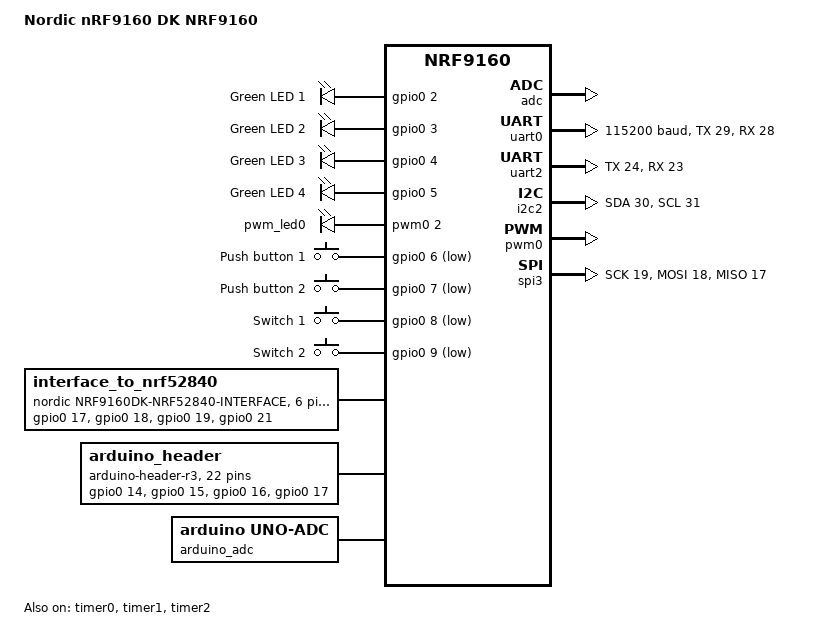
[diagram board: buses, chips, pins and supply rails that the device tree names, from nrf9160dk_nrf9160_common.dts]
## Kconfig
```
#
# Copyright (c) 2018 Nordic Semiconductor ASA
#
# SPDX-License-Identifier: LicenseRef-BSD-5-Clause-Nordic
#
choice LOG_MODE
	default LOG_MODE_IMMEDIATE
endchoice

menu "MQTT simple sample"
config APPLICATION_WORKQUEUE_STACK_SIZE
	int "Application workqueue stack size"
	default 1024

config APPLICATION_WORKQUEUE_PRIORITY
	int "Application workqueue priority"
	default SYSTEM_WORKQUEUE_PRIORITY
	
config MQTT_PUB_TOPIC
	string "MQTT publish topic"
	default "my/publish/topic"

config MQTT_SUB_TOPIC
	string "MQTT subscribe topic"
	default "my/subscribe/topic"

config MQTT_CLIENT_ID
	string "MQTT Client ID"
	default "my-client-id"

config MQTT_USER_NAME
	string "MQTT user name"
	default "admin123"
	
config MQTT_PASSWORD
	string "MQTT password"
	default "admin123"

config MQTT_DOMESTIC_BROKER_HOSTNAME
	string "MQTT broker hostname"
	default "mqtt.eclipse.org"

config MQTT_DOMESTIC_BROKER_PORT
	int "MQTT broker port"
	default 1883
	
config MQTT_FOREIGN_BROKER_HOSTNAME
	string "MQTT broker hostname"
	default "mqtt.eclipse.org"

config MQTT_FOREIGN_BROKER_PORT
	int "MQTT broker port"
	default 1883

config MQTT_MESSAGE_BUFFER_SIZE
	int "MQTT message buffer size"
	default 128

config MQTT_PAYLOAD_BUFFER_SIZE
	int "MQTT payload buffer size"
	default 128

config SEC_TAG
	int "Security tag to use for the connection"
	default 16842753

config PEER_VERIFY
	int "Peer verify parameter for mqtt_client"
	default 1
	help
		Set to 0 for VERIFY_NONE, 1 for VERIFY_OPTIONAL, and 2 for VERIFY_REQUIRED.

config MODEM_AUTO_REQUEST_POWER_SAVING_FEATURES
	bool "Auto request power saving features"
	default y

config LTE_EDRX_ENABLE
	bool "Enable LTE enhanced Discontinuous Reception"

config LTE_RAI_ENABLE
	bool "Enable LTE Release Assistance Indication"
endmenu

menu "WATCH DOG"
config WATCHDOG_TIMEOUT_MSEC
	int "Watchdog timeout in milliseconds"
	default 10000
endmenu

menu "GPS"
choice
	prompt "GPS device"
	default GPS_USE_SIM
	help
	  Select from which device GPS data will be fetched.

config GPS_USE_SIM
	bool "Use GPS simulator"
	select GPS_SIM
	select GPS_SIM_TRIGGER
	help
	  Use simulated GPS data.

config GPS_USE_EXTERNAL
	bool "User provided GPS device"
	help
	  Provide a GPS device that location data will be fetched from and
	  sent to nRF Cloud
endchoice

config GPS_DEV_NAME
	string "GPS device name"
	default GPS_SIM_DEV_NAME if GPS_USE_SIM
	help
	  GPS device from which location data will be fetched and sent
	  to nRF Cloud.

config GPS_CONTROL_ON_LONG_PRESS
	bool "Control the GPS state with button"
	default y
	help
	  Control the GPS operation with long-press on the button.
	  Press for 5 seconds to enable, or 5 seconds to disable.

config GPS_CONTROL_PSM_ENABLE_ON_START
	bool "Enable PSM when starting GPS"
	help
	  The nRF9160 modem needs to be set in PSM mode for the GPS to start
	  searching for satellites. Enabling this option will do so
	  automatically, otherwise the application must handle it.

config GPS_CONTROL_PSM_DISABLE_ON_STOP
	bool "Disable PSM when stopping GPS"
	help
	  Selecting this option will disable PSM when the GPS is stopped.
	  During a PSM interval, the device is not reachable from the outside
	  until the interval times out, or the device itself attempts to
	  send data on the link.

config GPS_CONTROL_FIRST_FIX_CHECK_DELAY
	int "Time from Cloud conenction until first fix check"
	default 30
	help
	  The amount of time that should pass between successfully establishing
	  connection to cloud until first attempt to get position fix.
	  Attempting to get a fix means entering PSM mode, in which the device
	  is not reachable for the duration of the interval, or until the
	  device itself sends data and then for the duration for the set
	  active time thereafter.

config GPS_CONTROL_FIX_CHECK_INTERVAL
	int "Interval in seconds to between check for position fix"
	default 120
	help
	  The fix check interval gives the interval for how long it will go
	  between each retry to achieve position fix. The actual fix time will
	  vary with factors such as satellite coverage, surrounding buildings
	  and landscape, PSM interval and activity time requested and granted
	  by the network.

config GPS_CONTROL_FIX_CHECK_OVERDUE
	int "Longest allowed time in seconds between checks for position fix"
	default 900
	help
	  The fix check interval gives the interval for how long it will go
	  between each retry to achieve position fix, when GPS_START_ON_MOTION
	  enabled, even if no motion is detected.

config GPS_CONTROL_FIX_TRY_TIME
	int "Time in seconds to try to get fix"
	default 180
	help
	  Amount of time the device will attempt to get position fix. Note that
	  if the interval is interrupted by the device sending data, the timer
	  is not reset, and the actual try time will be shortened due to
	  the device not being in PSM mode all the time. If fix is not acquired
	  before it times out, the device will try to get fix again in
	  GPS_CONTROL_FIX_CHECK_INTERVAL seconds. If GPS_CONTROL_FIX_COUNT is reached
	  before the full GPS_CONTROL_FIX_TRY_TIME has passed, the GPS will be stopped.

config GPS_CONTROL_FIX_COUNT
	int "Number of position fix before stopping GPS"
	default 3
	help
	  The number of fixes to get before stopping the GPS, within the time
	  set in GPS_CONTROL_FIX_CHECK_INTERVAL.

config GPS_CONTROL_MAX_FAILED_FIX_ATTEMPTS
	int "Number of failed fix attempts before stopping GPS"
	default 3
	help
	  Number of retries to get fix before shutting down the GPS until user
	  input tells it to start retrying.

config GPS_START_ON_MOTION
	bool "Motion triggered GPS update"
	default n
	help
	  When accelerometer detects movement, and GPS is enabled, update GPS
	  position, but if no movement, wait a longer delay between updates
	  to conserve power.
endmenu # GPS

menu "ANIMATION"
config ANIMATION_SUPPORT
	bool "animation support"
	default n
endmenu #ANIMATION

menu "TOUCH"
config TOUCH_SUPPORT
	bool "touch support"
	default n
endmenu #TOUCH

menu "PPG"
config PPG_SUPPORT
	bool "ppg support"
	default n
endmenu #PPG


menu "IMU"
config IMU_SUPPORT
	bool "imu support"
	default n
config STEP_SUPPORT
	bool "step support"
	default n		
config SLEEP_SUPPORT
	bool "sleep support"
	default n		
config FALL_DETECT_SUPPORT
	bool "fall detect support"
	default n		
endmenu #IMU

menu "AUDIO"
config AUDIO_SUPPORT
	bool "ppg support"
	default n
endmenu #AUDIO

menu "SYNC"
config SYNC_SUPPORT
	bool "sync support"
	default n
endmenu #SYNC

menu "TEMPERATURE"
config TEMP_SUPPORT
	bool "temperature support"
	default n
endmenu #TEMPERATURE

menu "CRC"
config CRC_SUPPORT
	bool "crc check support"
	default n
endmenu #CRC

menu "DATA_DOWNLOAD"
config DATA_DOWNLOAD_SUPPORT
	bool "data download support"
	default n
config DATA_DOWNLOAD_HOST_CN
	string "Download host name(cn)"	
config DATA_DOWNLOAD_HOST_HK
	string "Download host name(hk)"	
# IMG	
config IMG_DATA_UPDATE
	bool "img update support"
	default n
config IMG_DATA_DOWNLOAD_FILE
	string "The file to download"

# FONT
config FONT_DATA_UPDATE
	bool "font update support"
	default n
config FONT_DATA_DOWNLOAD_FILE
	string "The file to download"

# PPG
config PPG_DATA_UPDATE
	bool "ppg update support"
	default n
config PPG_DATA_DOWNLOAD_FILE
	string "The file to download"

config USE_HTTPS
	bool
	prompt "Use HTTPS for download"
	depends on DOWNLOAD_CLIENT_TLS	
endmenu #DATA_DOWNLOAD 

menu "IMG_UPDATE"
config DL_TARGET_UI
	bool "img ui update support"
	default n
endmenu #IMG_UPDATE

menu "FOTA_MQTT"
config FOTA_DOWNLOAD_HOST_CN
	string "Download host name(cn)"
config FOTA_DOWNLOAD_HOST_HK
	string "Download host name(hk)"

config FOTA_DOWNLOAD_FILE
	string "The file to download"

config APPLICATION_VERSION
	int "Application version"
	default 1

config USE_HTTPS
	bool
	prompt "Use HTTPS for download"
	depends on DOWNLOAD_CLIENT_TLS
endmenu #FOTA_MQTT

menu "Zephyr Kernel"
source "Kconfig.zephyr"
endmenu

module = APPLICATION_MODULE
module-str = Application module
source "subsys/logging/Kconfig.template.log_config"
```

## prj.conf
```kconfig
#
# Copyright (c) 2019 Nordic Semiconductor ASA
#
# SPDX-License-Identifier: LicenseRef-BSD-5-Clause-Nordic
#
# General config
CONFIG_NEWLIB_LIBC=y
CONFIG_NEWLIB_LIBC_FLOAT_PRINTF=y
CONFIG_ASSERT=y
CONFIG_REBOOT=y
CONFIG_GPIO=y
CONFIG_TRUSTED_EXECUTION_NONSECURE=y
CONFIG_NEWLIB_LIBC_NANO=n

# Log
CONFIG_LOG=y
CONFIG_USE_SEGGER_RTT=y
CONFIG_LOG_BACKEND_RTT=y
CONFIG_LOG_BACKEND_UART=n
CONFIG_LOG_DEFAULT_LEVEL=4
CONFIG_LOG_MODE_OVERFLOW=y
CONFIG_LOG_BACKEND_RTT_MODE_DROP=y
CONFIG_LOG_BACKEND_SHOW_COLOR=n
CONFIG_LOG_BACKEND_FORMAT_TIMESTAMP=n

# watch dog
CONFIG_WATCHDOG=y
CONFIG_WATCHDOG_TIMEOUT_MSEC=10000

# Modem info
CONFIG_MODEM_INFO=y

# BSD library
#CONFIG_BSD_LIBRARY=y
#CONFIG_BSD_LIBRARY_TRACE_ENABLED=n

# NVS
CONFIG_FLASH=y
CONFIG_FLASH_PAGE_LAYOUT=y
CONFIG_NVS=y
CONFIG_NVS_LOG_LEVEL_DBG=y
CONFIG_MPU_ALLOW_FLASH_WRITE=y

# GPS
CONFIG_NRF9160_GPS=y
#CONFIG_GPS_USE_SIM=y
CONFIG_GPS_USE_EXTERNAL=y
CONFIG_GPS_DEV_NAME="NRF9160_GPS"
CONFIG_GPS_CONTROL_PSM_ENABLE_ON_START=y
CONFIG_GPS_CONTROL_FIRST_FIX_CHECK_DELAY=10
CONFIG_GPS_CONTROL_FIX_CHECK_INTERVAL=30
CONFIG_GPS_CONTROL_FIX_TRY_TIME=360
CONFIG_GPS_CONTROL_PSM_DISABLE_ON_STOP=n

# AT_CMD
#CONFIG_AT_HOST_LIBRARY=y
#CONFIG_UART_INTERRUPT_DRIVEN=y

# Console
CONFIG_CONSOLE_SUBSYS=n
CONFIG_CONSOLE_HANDLER=n
CONFIG_CONSOLE_GETCHAR=n
CONFIG_CONSOLE=n
CONFIG_RTT_CONSOLE=y
CONFIG_UART_CONSOLE=n

# Enable SUPL client support AGPS
CONFIG_SUPL_CLIENT_LIB=n

# Network
CONFIG_NETWORKING=y
CONFIG_NET_NATIVE=n
#CONFIG_NET_SOCKETS_OFFLOAD=y
CONFIG_NET_SOCKETS=y
CONFIG_NET_SOCKETS_POSIX_NAMES=y

# LTE link control
CONFIG_LTE_LINK_CONTROL=y
CONFIG_LTE_AUTO_INIT_AND_CONNECT=n
CONFIG_LTE_NETWORK_USE_FALLBACK=y
CONFIG_LTE_NETWORK_TIMEOUT=60
CONFIG_LTE_NETWORK_MODE_LTE_M_GPS=n
CONFIG_LTE_NETWORK_MODE_NBIOT_GPS=y
#CONFIG_LTE_LEGACY_PCO_MODE=y

# PSM
CONFIG_MODEM_AUTO_REQUEST_POWER_SAVING_FEATURES=y
# Set Periodic-TAU timer to 1 hour and Active-Time to 10 seconds.
CONFIG_LTE_PSM_REQ_RPTAU="01000110"
CONFIG_LTE_PSM_REQ_RAT="00000101"

# MQTT
CONFIG_MQTT_LIB=y
CONFIG_MQTT_LIB_TLS=n
CONFIG_MQTT_KEEPALIVE=300
CONFIG_MQTT_PUB_TOPIC="device/e2/pushdata"
CONFIG_MQTT_SUB_TOPIC="device/e2/"
CONFIG_MQTT_CLIENT_ID="my-client-id"
CONFIG_MQTT_USER_NAME="admin123"
CONFIG_MQTT_PASSWORD="admin123"
CONFIG_MQTT_DOMESTIC_BROKER_HOSTNAME="47.107.51.89"
CONFIG_MQTT_DOMESTIC_BROKER_PORT=1883
CONFIG_MQTT_FOREIGN_BROKER_HOSTNAME="18.135.53.53"
CONFIG_MQTT_FOREIGN_BROKER_PORT=1883

# Library for buttons and LEDs
CONFIG_DK_LIBRARY=y
CONFIG_DK_LIBRARY_INVERT_LEDS=n

# Heap and stacks
CONFIG_HEAP_MEM_POOL_SIZE=16384
CONFIG_MAIN_STACK_SIZE=8192
CONFIG_SYSTEM_WORKQUEUE_STACK_SIZE=2048
CONFIG_HW_STACK_PROTECTION=y

# SPI
CONFIG_SPI=y

# I2C
CONFIG_I2C=y

# UART
CONFIG_SERIAL=y
CONFIG_UART_INTERRUPT_DRIVEN=y

# ANIMATION
CONFIG_ANIMATION_SUPPORT=y

# PPG
CONFIG_PPG_SUPPORT=n

# IMU
CONFIG_IMU_SUPPORT=n
CONFIG_STEP_SUPPORT=n
CONFIG_SLEEP_SUPPORT=n
CONFIG_FALL_DETECT_SUPPORT=n

# WIFI
CONFIG_WIFI=n

# TP
CONFIG_TOUCH_SUPPORT=y

# AUDIO
CONFIG_AUDIO_SUPPORT=n

# Data Sync
CONFIG_SYNC_SUPPORT=y

# Temperature
CONFIG_TEMP_SUPPORT=n

# CRC Check
CONFIG_CRC_SUPPORT=y

# DEVICE POWER MANAGEMENT
CONFIG_PM_DEVICE=y

# Download client
CONFIG_DOWNLOAD_CLIENT=y
CONFIG_DOWNLOAD_CLIENT_STACK_SIZE=4096

# DATA UPDATE
CONFIG_DATA_DOWNLOAD_SUPPORT=n
CONFIG_DATA_DOWNLOAD_HOST_HK="aug-fm-files-hk.oss-cn-hongkong.aliyuncs.com"
CONFIG_DATA_DOWNLOAD_HOST_CN="aug-fm-files-cn.oss-cn-shenzhen.aliyuncs.com"
# IMG
CONFIG_IMG_DATA_UPDATE=y
CONFIG_IMG_DATA_DOWNLOAD_FILE="e2_img.bin"
# FONT
CONFIG_FONT_DATA_UPDATE=y
CONFIG_FONT_DATA_DOWNLOAD_FILE="e2_font.bin"
# PPG
CONFIG_PPG_DATA_UPDATE=y
CONFIG_PPG_DATA_DOWNLOAD_FILE="e2_ppg.bin"

# fota download
CONFIG_FOTA_DOWNLOAD=y
CONFIG_FOTA_DOWNLOAD_PROGRESS_EVT=y
CONFIG_FOTA_DOWNLOAD_HOST_HK="aug-fm-files-hk.oss-cn-hongkong.aliyuncs.com"
CONFIG_FOTA_DOWNLOAD_HOST_CN="aug-fm-files-cn.oss-cn-shenzhen.aliyuncs.com"
CONFIG_FOTA_DOWNLOAD_FILE="e2_update.bin"

# Image manager
CONFIG_IMG_MANAGER=y
CONFIG_FLASH=y
CONFIG_IMG_ERASE_PROGRESSIVELY=y

# DFU Target
CONFIG_DFU_TARGET=y

# Modem key management
CONFIG_MODEM_KEY_MGMT=y

# Application Upgrade support
CONFIG_BOOTLOADER_MCUBOOT=y
```

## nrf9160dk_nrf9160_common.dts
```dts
/*
 * Copyright (c) 2018-2020 Nordic Semiconductor ASA
 *
 * SPDX-License-Identifier: Apache-2.0
 */

 / {
	model = "Nordic nRF9160 DK NRF9160";
	compatible = "nordic,nrf9160-dk-nrf9160";

	chosen {
		zephyr,console = &uart0;
		zephyr,shell-uart = &uart0;
		zephyr,uart-mcumgr = &uart0;
	};

	leds {
		compatible = "gpio-leds";
		led0: led_0 {
			gpios = <&gpio0 2 0>;
			label = "Green LED 1";
		};
		led1: led_1 {
			gpios = <&gpio0 3 0>;
			label = "Green LED 2";
		};
		led2: led_2 {
			gpios = <&gpio0 4 0>;
			label = "Green LED 3";
		};
		led3: led_3 {
			gpios = <&gpio0 5 0>;
			label = "Green LED 4";
		};
	};

	pwmleds {
		compatible = "pwm-leds";
		pwm_led0: pwm_led_0 {
			pwms = <&pwm0 2>;
		};
	};

	buttons {
		/*
		 * Unlike most DK boards, we do not actually have 4 buttons
		 * on nRF9160 DK. Instead, we have 2 buttons and 2 switches.
		 * Treat the switches as buttons anyway, for convenience.
		 * This makes life easier for software that wants to deal with
		 * the usual "4 buttons per DK board" convention.
		 */
		compatible = "gpio-keys";
		button0: button_0 {
			gpios = <&gpio0 6 (GPIO_PULL_UP | GPIO_ACTIVE_LOW)>;
			label = "Push button 1";
		};
		button1: button_1 {
			gpios = <&gpio0 7 (GPIO_PULL_UP | GPIO_ACTIVE_LOW)>;
			label = "Push button 2";
		};
		button2: button_2 {
			gpios = <&gpio0 8 (GPIO_PULL_UP | GPIO_ACTIVE_LOW)>;
			label = "Switch 1";
		};
		button3: button_3 {
			gpios = <&gpio0 9 (GPIO_PULL_UP | GPIO_ACTIVE_LOW)>;
			label = "Switch 2";
		};
	};

	interface_to_nrf52840: gpio-interface {
		compatible = "nordic,nrf9160dk-nrf52840-interface";
		#gpio-cells = <2>;
		gpio-map-mask = <0xf 0>;
		gpio-map-pass-thru = <0 0xffffffff>;
		gpio-map = <0 0 &gpio0 17 0>,
			   <1 0 &gpio0 18 0>,
			   <2 0 &gpio0 19 0>,
			   <3 0 &gpio0 21 0>,
			   <4 0 &gpio0 22 0>,
			   <5 0 &gpio0 23 0>;
			   /* 6: COEX0 */
			   /* 7: COEX1 */
			   /* 8: COEX2 */
	};

	nrf52840_reset: gpio-reset {
		compatible = "nordic,nrf9160dk-nrf52840-reset";
		status = "disabled";
		/*
		 * This line is specified as active high for compatibility
		 * with the previously used Kconfig-based configuration.
		 */
		gpios = <&interface_to_nrf52840 5 GPIO_ACTIVE_HIGH>;
	};

	arduino_header: connector {
		compatible = "arduino-header-r3";
		#gpio-cells = <2>;
		gpio-map-mask = <0xffffffff 0xffffffc0>;
		gpio-map-pass-thru = <0 0x3f>;
		gpio-map = <0 0 &gpio0 14 0>,	/* A0 */
			   <1 0 &gpio0 15 0>,	/* A1 */
			   <2 0 &gpio0 16 0>,	/* A2 */
			   <3 0 &gpio0 17 0>,	/* A3 */
			   <4 0 &gpio0 18 0>,	/* A4 */
			   <5 0 &gpio0 19 0>,	/* A5 */
			   <6 0 &gpio0 0 0>,	/* D0 */
			   <7 0 &gpio0 1 0>,	/* D1 */
			   <8 0 &gpio0 2 0>,	/* D2 */
			   <9 0 &gpio0 3 0>,	/* D3 */
			   <10 0 &gpio0 4 0>,	/* D4 */
			   <11 0 &gpio0 5 0>,	/* D5 */
			   <12 0 &gpio0 6 0>,	/* D6 */
			   <13 0 &gpio0 7 0>,	/* D7 */
			   <14 0 &gpio0 8 0>,	/* D8 */
			   <15 0 &gpio0 9 0>,	/* D9 */
			   <16 0 &gpio0 10 0>,	/* D10 */
			   <17 0 &gpio0 11 0>,	/* D11 */
			   <18 0 &gpio0 12 0>,	/* D12 */
			   <19 0 &gpio0 13 0>,	/* D13 */
			   <20 0 &gpio0 30 0>,	/* D14 */
			   <21 0 &gpio0 31 0>;	/* D15 */
	};

	arduino_adc: analog-connector {
		compatible = "arduino,uno-adc";
		#io-channel-cells = <1>;
		io-channel-map = <0 &adc 1>,	/* A0 = P0.14 = AIN1 */
				 <1 &adc 2>,	/* A1 = P0.15 = AIN2 */
				 <2 &adc 3>,	/* A2 = P0.16 = AIN3 */
				 <3 &adc 4>,	/* A3 = P0.17 = AIN4 */
				 <4 &adc 5>,	/* A4 = P0.18 = AIN5 */
				 <5 &adc 6>;	/* A5 = P0.19 = AIN6 */
	};

	/* These aliases are provided for compatibility with samples */
	aliases {
		led0 = &led0;
		led1 = &led1;
		led2 = &led2;
		led3 = &led3;
		pwm-led0 = &pwm_led0;
		sw0 = &button0;
		sw1 = &button1;
		sw2 = &button2;
		sw3 = &button3;
		bootloader-led0 = &led0;
	};
};

&adc {
	status = "okay";
};

&gpiote {
	status = "okay";
};

&gpio0 {
	status = "okay";
};

&uart0 {
	status = "okay";
	current-speed = <115200>;
	tx-pin = <29>;
	rx-pin = <28>;
	rx-pull-up;
	#rts-pin = <27>;
	#cts-pin = <26>;
	cts-pull-up;
};

arduino_serial: &uart1 {
	status = "disabled";
	current-speed = <115200>;
	tx-pin = <1>;
	rx-pin = <0>;
	rx-pull-up;
	rts-pin = <14>;
	cts-pin = <15>;
	cts-pull-up;
};

&uart2 {
	tx-pin = <24>;
	rx-pin = <23>;
};

arduino_i2c: &i2c2 {
	compatible = "nordic,nrf-twim";
	status = "okay";
	sda-pin = <30>;
	scl-pin = <31>;
};

&pwm0 {
	status = "okay";
	ch0-pin = <2>;
};

&spi3 {
	compatible = "nordic,nrf-spim";
	status = "okay";
	sck-pin = <19>;
	mosi-pin = <18>;
	miso-pin = <17>;
};

&timer0 {
	status = "okay";
};

&timer1 {
	status = "okay";
};

&timer2 {
	status = "okay";
};

&flash0 {

	partitions {
		compatible = "fixed-partitions";
		#address-cells = <1>;
		#size-cells = <1>;

		boot_partition: partition@0 {
			label = "mcuboot";
			reg = <0x00000000 0x10000>;
		};
		slot0_partition: partition@10000 {
			label = "image-0";
		};
		slot0_ns_partition: partition@50000 {
			label = "image-0-nonsecure";
		};
		slot1_partition: partition@80000 {
			label = "image-1";
		};
		slot1_ns_partition: partition@c0000 {
			label = "image-1-nonsecure";
		};
		scratch_partition: partition@f0000 {
			label = "image-scratch";
			reg = <0x000f0000 0xa000>;
		};
		storage_partition: partition@fa000 {
			label = "storage";
			reg = <0x000fa000 0x00006000>;
		};
	};
};

/ {

	reserved-memory {
		#address-cells = <1>;
		#size-cells = <1>;
		ranges;

		sram0_s: image_s@20000000 {
			/* Secure image memory */
		};

		sram0_modem: image_modem@20016000 {
			/* Modem (shared) memory */
		};

		sram0_ns: image_ns@20020000 {
			/* Non-Secure image memory */
		};
	};
};

/* Include partition configuration file */
#include "nrf9160dk_nrf9160_partition_conf.dts"
```

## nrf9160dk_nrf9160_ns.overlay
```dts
&spi2{
	compatible = "nordic,nrf-spim";
	status = "okay";
	sck-pin = <3>;
	mosi-pin = <4>;
	miso-pin = <5>;
};

&spi3{
	compatible = "nordic,nrf-spim";
	status = "okay";
	sck-pin = <22>;
	mosi-pin = <20>;
	miso-pin = <20>;
};

&i2c1{
	compatible = "nordic,nrf-twim";
	status = "okay";
	sda-pin = <0>;
	scl-pin = <1>;
	clock-frequency = <I2C_BITRATE_FAST>;
};

&i2c2{
	compatible = "nordic,nrf-twim";
	status = "disabled";
};

&uart0{
	status = "okay";
	current-speed = <115200>;
	tx-pin = <7>;
	rx-pin = <28>;
	#rts-pin = <14>;
	#cts-pin = <15>;
};

&uart1{
	status = "disabled";
};
```

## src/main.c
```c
/*
* Copyright (c) 2019 Nordic Semiconductor ASA
*
* SPDX-License-Identifier: LicenseRef-BSD-5-Clause-Nordic
*/

#include <nrf9160.h>
#include <zephyr.h>
#include <kernel_structs.h>
#include <device.h>
#include <stdio.h>
#include <sys/printk.h>
#include <power/reboot.h>
#include <drivers/spi.h>
#include <drivers/gpio.h>
#include <dk_buttons_and_leds.h>
#include "lcd.h"
#include "datetime.h"
#include "font.h"
#include "img.h"
#include "inner_flash.h"
#include "external_flash.h"
#include "uart_ble.h"
#include "settings.h"
#ifdef CONFIG_TOUCH_SUPPORT
#include "CST816.h"
#endif
#include "Max20353.h"
#ifdef CONFIG_IMU_SUPPORT
#include "lsm6dso.h"
#endif
#include "Alarm.h"
#include "gps.h"
#include "screen.h"
#include "codetrans.h"
#ifdef CONFIG_AUDIO_SUPPORT
#include "audio.h"
#endif
#ifdef CONFIG_WATCHDOG
#include "watchdog.h"
#endif
#ifdef CONFIG_TEMP_SUPPORT
#include "temp.h"
#endif
#include "logger.h"

//#define ANALOG_CLOCK
#define DIGITAL_CLOCK
#define PI 3.1415926

static bool sys_pwron_completed_flag = false;
static uint8_t show_pic_count = 0;//图片显示顺序

/* Stack definition for application workqueue */
K_THREAD_STACK_DEFINE(nb_stack_area,
		      4096);
static struct k_work_q nb_work_q;

#ifdef CONFIG_IMU_SUPPORT
K_THREAD_STACK_DEFINE(imu_stack_area,
              4096);
static struct k_work_q imu_work_q;
#endif

K_THREAD_STACK_DEFINE(gps_stack_area,
              2048);
static struct k_work_q gps_work_q;

#if defined(ANALOG_CLOCK)
static void test_show_analog_clock(void);
#elif defined(DIGITAL_CLOCK)
static void test_show_digital_clock(void);
#endif
static void idle_show_time(void);

#ifdef ANALOG_CLOCK
void ClearAnalogHourPic(int hour)
{
	uint16_t offset_x=4,offset_y=4;
	uint16_t hour_x,hour_y,hour_w,hour_h;

	LCD_get_pic_size(clock_hour_1_31X31,&hour_w,&hour_h);
	hour_x = (LCD_WIDTH)/2;
	hour_y = (LCD_HEIGHT)/2;

	if((hour%12) == 3)
		LCD_Fill(hour_x-offset_x,hour_y+offset_y-hour_h,hour_w,hour_h,BLACK);
	else if((hour%12) == 6)
		LCD_Fill(hour_x-offset_x,hour_y-offset_y,hour_w,hour_h,BLACK);
	else if((hour%12) == 9)
		LCD_Fill(hour_x+offset_x-hour_w,hour_y-offset_y,hour_w,hour_h,BLACK);
	else if((hour%12) == 0)
		LCD_Fill(hour_x+offset_x-hour_w,hour_y+offset_y-hour_h,hour_w,hour_h,BLACK);
}

void DrawAnalogHourPic(int hour)
{
	uint16_t offset_x=4,offset_y=4;
	uint16_t hour_x,hour_y,hour_w,hour_h;
	unsigned int *hour_pic[3] = {clock_hour_1_31X31,clock_hour_2_31X31,clock_hour_3_31X31};

	LCD_get_pic_size(clock_hour_1_31X31,&hour_w,&hour_h);
	hour_x = (LCD_WIDTH)/2;
	hour_y = (LCD_HEIGHT)/2;

	if((hour%12)<3)
		LCD_dis_pic_rotate(hour_x-offset_x,hour_y+offset_y-hour_h,hour_pic[hour%3],0);
	else if(((hour%12)>=3) && ((hour%12)<6))
		LCD_dis_pic_rotate(hour_x-offset_x,hour_y-offset_y,hour_pic[hour%3],90);
	else if(((hour%12)>=6) && ((hour%12)<9))
		LCD_dis_pic_rotate(hour_x+offset_x-hour_w,hour_y-offset_y,hour_pic[hour%3],180);
	else if(((hour%12)>=9) && ((hour%12)<12))
		LCD_dis_pic_rotate(hour_x+offset_x-hour_w,hour_y+offset_y-hour_h,hour_pic[hour%3],270);
}

void ClearAnalogMinPic(int minute)
{
	uint16_t offset_x=4,offset_y=4;
	uint16_t min_x,min_y,min_w,min_h;
	
	LCD_get_pic_size(clock_min_1_31X31,&min_w,&min_h);
	min_x = (LCD_WIDTH)/2;
	min_y = (LCD_HEIGHT)/2;

	if(minute == 15)
		LCD_Fill(min_x-offset_x,min_y+offset_y-min_h,min_w,min_h,BLACK);
	else if(minute == 30)
		LCD_Fill(min_x-offset_x,min_y-offset_y,min_w,min_h,BLACK);
	else if(minute == 45)
		LCD_Fill(min_x+offset_x-min_w,min_y-offset_y,min_w,min_h,BLACK);
	else if(minute == 0)
		LCD_Fill(min_x+offset_x-min_w,min_y+offset_y-min_h,min_w,min_h,BLACK);
}

void DrawAnalogMinPic(int hour, int minute)
{
	uint16_t offset_x=4,offset_y=4;
	uint16_t min_x,min_y,min_w,min_h;
	unsigned int *min_pic[15] = {clock_min_1_31X31,clock_min_2_31X31,clock_min_3_31X31,clock_min_4_31X31,clock_min_5_31X31,\
								 clock_min_6_31X31,clock_min_7_31X31,clock_min_8_31X31,clock_min_9_31X31,clock_min_10_31X31,\
								 clock_min_11_31X31,clock_min_12_31X31,clock_min_13_31X31,clock_min_14_31X31,clock_min_15_31X31};
	
	LCD_get_pic_size(clock_min_1_31X31,&min_w,&min_h);
	min_x = (LCD_WIDTH)/2;
	min_y = (LCD_HEIGHT)/2;

	if(minute<15)
	{
		if((hour%12)<3)							//分针时针有重叠，透明显示
		{
			DrawAnalogHourPic(hour);
			LCD_dis_pic_trans_rotate(min_x-offset_x,min_y+offset_y-min_h,min_pic[minute%15],BLACK,0);
		}
		else if((hour%12)==3)		//临界点，分针不透明显示，但是不能遮盖时针
		{
			LCD_dis_pic_rotate(min_x-offset_x,min_y+offset_y-min_h,min_pic[minute%15],0);
			DrawAnalogHourPic(hour);
		}
		else
			LCD_dis_pic_rotate(min_x-offset_x,min_y+offset_y-min_h,min_pic[minute%15],0);
	}
	else if((minute>=15) && (minute<30))
	{
		if(((hour%12)>=3) && ((hour%12)<6))	//分针时针有重叠，透明显示
		{
			DrawAnalogHourPic(hour);
			LCD_dis_pic_trans_rotate(min_x-offset_x,min_y-offset_y,min_pic[minute%15],BLACK,90);
		}
		else if((hour%12)==6)		//临界点，分针不透明显示，但是不能遮盖时针
		{
			LCD_dis_pic_rotate(min_x-offset_x,min_y-offset_y,min_pic[minute%15],90);
			DrawAnalogHourPic(hour);
		}
		else
			LCD_dis_pic_rotate(min_x-offset_x,min_y-offset_y,min_pic[minute%15],90);
	}
	else if((minute>=30) && (minute<45))
	{
		if(((hour%12)>=6) && ((hour%12)<9))	//分针时针有重叠，透明显示
		{
			DrawAnalogHourPic(hour);
			LCD_dis_pic_trans_rotate(min_x+offset_x-min_w,min_y-offset_y,min_pic[minute%15],BLACK,180);
		}
		else if((hour%12)==9)		//临界点，分针不透明显示，但是不能遮盖时针
		{
			LCD_dis_pic_rotate(min_x+offset_x-min_w,min_y-offset_y,min_pic[minute%15],180);
			DrawAnalogHourPic(hour);
		}
		else
			LCD_dis_pic_rotate(min_x+offset_x-min_w,min_y-offset_y,min_pic[minute%15],180);
	}
	else if((minute>=45) && (minute<60))
	{
		if((hour%12)>=9)	//分针时针有重叠，透明显示
		{
			DrawAnalogHourPic(hour);
			LCD_dis_pic_trans_rotate(min_x+offset_x-min_w,min_y+offset_y-min_h,min_pic[minute%15],BLACK,270);
		}
		else if((hour%12)==0)		//临界点，分针不透明显示，但是不能遮盖时针
		{
			LCD_dis_pic_rotate(min_x+offset_x-min_w,min_y+offset_y-min_h,min_pic[minute%15],270);
			DrawAnalogHourPic(hour);
		}
		else
			LCD_dis_pic_rotate(min_x+offset_x-min_w,min_y+offset_y-min_h,min_pic[minute%15],270);
	}
}
#endif

/***************************************************************************
* 描  述 : idle_show_digit_clock 待机界面显示数字时钟
* 入  参 : 无 
* 返回值 : 无
**************************************************************************/
void idle_show_digital_clock(void)
{
	IdleShowSystemTime();
	
	if(show_date_time_first || ((date_time_changed&0x38) != 0))
	{
		IdleShowSystemDate();
		IdleShowSystemWeek();

		if(show_date_time_first)
			show_date_time_first = false;
		if((date_time_changed&0x38) != 0)
			date_time_changed = date_time_changed&0xC7;//清空日期变化标志位
	}
}

#ifdef ANALOG_CLOCK
/***************************************************************************
* 描  述 : idle_show_analog_clock 待机界面显示模拟时钟
* 入  参 : 无 
* 返回值 : 无
**************************************************************************/
void idle_show_analog_clock(void)
{
	uint8_t str_date[20] = {0};
	uint8_t str_week[20] = {0};
	uint8_t *week_cn[7] = {"周日", "周一", "周二", "周三", "周四", "周五", "周六"};
	uint8_t *week_en[7] = {"SUN", "MON", "TUE", "WED", "THU", "FRI", "SAT"};
	uint16_t str_w,str_h;

	POINT_COLOR=WHITE;								//画笔颜色
	BACK_COLOR=BLACK;  								//背景色 

#ifdef FONTMAKER_UNICODE_FONT
	LCD_SetFontSize(FONT_SIZE_20);
#else
	LCD_SetFontSize(FONT_SIZE_16);
#endif

	sprintf((char*)str_date, "%02d/%02d", date_time.day,date_time.month);
	if(global_settings.language == LANGUAGE_CHN)
		strcpy(str_week, week_cn[date_time.week]);
	else
		strcpy(str_week, week_en[date_time.week]);
	
	if(show_date_time_first)
	{
		show_date_time_first = false;
		DrawAnalogHourPic(date_time.hour);
		DrawAnalogMinPic(date_time.hour, date_time.minute);

		LCD_MeasureString(str_week, &str_w, &str_h);
		LCD_ShowString((LCD_WIDTH-str_w)/2, 15, str_week);

		LCD_MeasureString(str_date, &str_w, &str_h);
		LCD_ShowString((LCD_WIDTH-str_w)/2, 33, str_date);
	}
	else if(date_time_changed != 0)
	{
		if((date_time_changed&0x04) != 0)
		{
			DrawAnalogHourPic(date_time.hour);
			date_time_changed = date_time_changed&0xFB;
		}	
		if((date_time_changed&0x02) != 0)//分钟有变化
		{
			DrawAnalogHourPic(date_time.hour);
			DrawAnalogMinPic(date_time.hour, date_time.minute);
			date_time_changed = date_time_changed&0xFD;
		}
		if((date_time_changed&0x38) != 0)
		{
			LCD_MeasureString(str_week, &str_w, &str_h);
			LCD_ShowString((LCD_WIDTH-str_w)/2, 15, str_week);

			LCD_MeasureString(str_date, &str_w, &str_h);
			LCD_ShowString((LCD_WIDTH-str_w)/2, 33, str_date);

			date_time_changed = date_time_changed&0xC7;//清空日期变化标志位
		}
	}
}
#endif

void idle_show_clock_background(void)
{
	LCD_Clear(BLACK);
	BACK_COLOR=BLACK;
	POINT_COLOR=WHITE;

#ifdef FONTMAKER_UNICODE_FONT
	LCD_SetFontSize(FONT_SIZE_20);
#else	
	LCD_SetFontSize(FONT_SIZE_16);
#endif

#ifdef ANALOG_CLOCK	
	if(global_settings.idle_colck_mode == CLOCK_MODE_ANALOG)
	{
		LCD_dis_pic(0,0,clock_bg_80X160);
	}
#endif
}

/***************************************************************************
* 描  述 : idle_show_time 待机界面显示时间
* 入  参 : 无 
* 返回值 : 无
**************************************************************************/
void idle_show_time(void)
{	
	if(global_settings.idle_colck_mode == CLOCK_MODE_ANALOG)
	{
	#ifdef ANALOG_CLOCK
		if((date_time_changed&0x02) != 0)
		{
			ClearAnalogMinPic(date_time.minute);//擦除以前的分钟
		}
		if((date_time_changed&0x04) != 0)
		{
			ClearAnalogHourPic(date_time.hour);//擦除以前的时钟
		}

		idle_show_analog_clock();
	#endif
	}
	else
	{
	#ifdef DIGITAL_CLOCK
		if((date_time_changed&0x01) != 0)
		{
			date_time_changed = date_time_changed&0xFE;
			BlockWrite((LCD_WIDTH-8*8)/2+6*8,(LCD_HEIGHT-16)/2,2*8,16);//擦除以前的秒钟
		}
		if((date_time_changed&0x02) != 0)
		{
			date_time_changed = date_time_changed&0xFD;
			BlockWrite((LCD_WIDTH-8*8)/2+3*8,(LCD_HEIGHT-16)/2,2*8,16);//擦除以前的分钟
		}
		if((date_time_changed&0x04) != 0)
		{
			date_time_changed = date_time_changed&0xFB;
			BlockWrite((LCD_WIDTH-8*8)/2,(LCD_HEIGHT-16)/2,2*8,16);//擦除以前的时钟
		}
		
		if((date_time_changed&0x38) != 0)
		{			
			BlockWrite((LCD_WIDTH-10*8)/2,(LCD_HEIGHT-16)/2+30,10*8,16);
		}
		
		idle_show_digital_clock();
	#endif
	}
}

void test_show_analog_clock(void)
{
	uint32_t err_code;
	
	global_settings.idle_colck_mode = CLOCK_MODE_ANALOG;
	
	idle_show_clock_background();
	idle_show_time();
}

void test_show_digital_clock(void)
{
	uint32_t err_code;
	
	global_settings.idle_colck_mode == CLOCK_MODE_DIGITAL;
	
	idle_show_clock_background();
	idle_show_time();
}

void test_show_image(void)
{
	uint8_t i=3;
	uint16_t x,y,w=0,h=0;

	LOGD("test_show_image");
	
	LCD_Clear(BLACK);
	
	//LCD_get_pic_size(peppa_pig_160X160, &w, &h);
	//LCD_dis_pic_rotate(0,200,peppa_pig_160X160,270);
	//LCD_dis_pic(0, 0, peppa_pig_160X160);
	//LCD_get_pic_size_from_flash(IMG_ANALOG_CLOCK_HAND_HOUR_ADDR, &w, &h);
	//LCD_dis_pic_from_flash((LCD_WIDTH-w)/2, (LCD_HEIGHT-h)/2, IMG_ANALOG_CLOCK_HAND_SEC_ADDR);
	//LCD_dis_pic_rotate_from_flash((LCD_WIDTH-w)/2, (LCD_HEIGHT-h)/2, IMG_ANALOG_CLOCK_HAND_HOUR_ADDR, 270);
	//LCD_dis_pic_angle_from_flash(0, 0, IMG_ANALOG_CLOCK_HAND_SEC_ADDR, 360);
	while(1)
	{
		LCD_Clear(BLACK);
		LCD_dis_pic_angle_from_flash(0, 0, IMG_ANALOG_CLOCK_HAND_SEC_ADDR, i*30);
	#if 0	
		switch(i)
		{
			case 0:
				//LCD_dis_pic(w*0,h*0,peppa_pig_160X160);
				//LCD_dis_pic_trans(w*0,h*0,peppa_pig_80X160,WHITE);
				LCD_dis_pic_from_flash(w*0, h*0, IMG_ANALOG_CLOCK_BG_ADDR);
				//LCD_dis_pic_rotate((LCD_WIDTH-w)/2,(LCD_HEIGHT-h)/2,peppa_pig_160X160,0);
				//LCD_dis_pic_trans_rotate((LCD_WIDTH-w)/2,(LCD_HEIGHT-h)/2,peppa_pig_160X160,WHITE,0);
				break;
			case 1:
				//LCD_dis_pic(w*1,h*0,peppa_pig_160X160);
				//LCD_dis_pic_trans(w*1,h*0,peppa_pig_80X160,WHITE);
				LCD_dis_pic_from_flash(w*1, h*0, IMG_ANALOG_CLOCK_BG_ADDR);
				//LCD_dis_pic_rotate((LCD_WIDTH-w)/2,(LCD_HEIGHT-h)/2,peppa_pig_160X160,90);
				//LCD_dis_pic_trans_rotate((LCD_WIDTH-w)/2,(LCD_HEIGHT-h)/2,peppa_pig_160X160,WHITE,90);
				break;
			case 2:
				//LCD_dis_pic(w*1,h*1,peppa_pig_160X160);
				//LCD_dis_pic_trans(w*1,h*1,peppa_pig_80X160,WHITE);
				LCD_dis_pic_from_flash(w*1, h*1, IMG_ANALOG_CLOCK_BG_ADDR);
				//LCD_dis_pic_rotate((LCD_WIDTH-w)/2,(LCD_HEIGHT-h)/2,peppa_pig_160X160,180);
				//LCD_dis_pic_trans_rotate((LCD_WIDTH-w)/2,(LCD_HEIGHT-h)/2,peppa_pig_160X160,WHITE,180);
				break;
			case 3:
				//LCD_dis_pic(w*0,h*1,peppa_pig_160X160);
				//LCD_dis_pic_trans(w*0,h*1,peppa_pig_80X160,WHITE);
				LCD_dis_pic_from_flash(w*0, h*1, IMG_ANALOG_CLOCK_BG_ADDR);
				//LCD_dis_pic_rotate((LCD_WIDTH-w)/2,(LCD_HEIGHT-h)/2,peppa_pig_160X160,270);
				//LCD_dis_pic_trans_rotate((LCD_WIDTH-w)/2,(LCD_HEIGHT-h)/2,peppa_pig_160X160,WHITE,270);
				break;
			case 4:
				LCD_Fill(w*0,h*0,w,h,BLACK);
				break;
			case 5:
				LCD_Fill(w*1,h*0,w,h,BLACK);
				break;
			case 6:
				LCD_Fill(w*1,h*1,w,h,BLACK);
				break;
			case 7:
				LCD_Fill(w*0,h*1,w,h,BLACK);
				break;
		}
	#endif

		if(i==0)
			i=11;
		else
			i--;
		
		k_sleep(K_MSEC(1000));								//软件延时1000ms
	}
}

void test_show_stripe(void)
{
	uint16_t x,y,w,h;
	uint8_t i;
	uint16_t color[] = {WHITE,BLACK,RED,GREEN,BLUE,GBLUE,MAGENTA,CYAN,YELLOW,BROWN,BRRED,GRAY};
	
	h = LCD_HEIGHT/8;

	for(i=0;i<8;i++)
	{
		LCD_Fill(0, h*i, LCD_WIDTH, h, color[i%5]);
	}
}

void test_show_color(void)
{
	uint8_t i=0;

	LOGD("test_show_image");
	
	while(1)
	{
		switch(i)
		{
			case 0:
				LCD_Clear(WHITE);
				break;
			case 1:
				LCD_Clear(BLACK);
				break;
			case 2:
				LCD_Clear(RED);
				break;
			case 3:
				LCD_Clear(GREEN);
				break;
			case 4:
				LCD_Clear(BLUE);
				break;
			case 5:
				LCD_Clear(YELLOW);
				break;
			case 6:
				LCD_Clear(GBLUE);
				break;
			case 7:
				LCD_Clear(MAGENTA);
				break;
			case 8:
				LCD_Clear(CYAN);
				break;
			case 9:
				LCD_Clear(BROWN);
				break;
			case 10:
				LCD_Clear(BRRED);
				break;
			case 11:
				LCD_Clear(GRAY);
				break;					
		}
		
		i++;
		if(i>=12)
			i=0;
		
		k_sleep(K_MSEC(1000));								//软件延时1000ms
	}
}

void test_show_string(void)
{
	uint16_t x,y,w,h;
	uint8_t enbuf[64] = {0};
	uint8_t cnbuf[64] = {0};
	uint8_t jpbuf[64] = {0};
	uint16_t en_unibuf[64] = {0x0041,0x0075,0x0067,0x0075,0x0073,0x0074,0x0020,0x0053,0x0068,0x0065,0x006E,0x007A,0x0068,0x0065,0x006E,0x0020,0x0044,0x0049,0x0067,0x0049,0x0074,0x0061,0x006C,0x0020,0x004C,0x0074,0x0064,0x0000};
	uint16_t cn_unibuf[64] = {0x6DF1,0x5733,0x5E02,0x5965,0x79D1,0x65AF,0x6570,0x7801,0x6709,0x9650,0x516C,0x53F8,0x0000};
	uint16_t jp_unibuf[64] = {0x6DF1,0x30BB,0x30F3,0x5E02,0x30AA,0x30FC,0x30B3,0x30B9,0x30C7,0x30B8,0x30BF,0x30EB,0x6709,0x9650,0x4F1A,0x793E,0x0000};

	LCD_Clear(BLACK);
	
	POINT_COLOR=WHITE;								//画笔颜色
	BACK_COLOR=BLACK;  								//背景色 

#ifdef FONTMAKER_UNICODE_FONT
#if 0//def FONT_64
	LCD_SetFontSize(FONT_SIZE_64);					//设置字体大小
#elif 0//defined(FONT_48)
	LCD_SetFontSize(FONT_SIZE_48);					//设置字体大小
#elif 0//defined(FONT_32)
	LCD_SetFontSize(FONT_SIZE_32);					//设置字体大小	
#elif 0//defined(FONT_24)
	LCD_SetFontSize(FONT_SIZE_24);					//设置字体大小
#elif defined(FONT_16)
	LCD_SetFontSize(FONT_SIZE_16);					//设置字体大小
#endif
	LCD_MeasureUniString(en_unibuf,&w,&h);
	x = (w > LCD_WIDTH)? 0 : (LCD_WIDTH-w)/2;
	y = 30;	
	LCD_ShowUniString(x,y,en_unibuf);

	LCD_MeasureUniString(cn_unibuf,&w,&h);
	x = (w > LCD_WIDTH)? 0 : (LCD_WIDTH-w)/2;
	y = y + h + 2;
	LCD_ShowUniString(x,y,cn_unibuf);

	LCD_MeasureUniString(jp_unibuf,&w,&h);
	x = (w > LCD_WIDTH)? 0 : (LCD_WIDTH-w)/2;
	y = y + h + 2;
	LCD_ShowUniString(x,y,jp_unibuf);

#if 0
#ifdef FONT_24
	LCD_SetFontSize(FONT_SIZE_24);					//设置字体大小
#endif
	LCD_MeasureUniString(cn_unibuf,&w,&h);
	x = (w > LCD_WIDTH)? 0 : (LCD_WIDTH-w)/2;
	y = y + h + 2;	
	LCD_ShowUniString(x,y,cn_unibuf);
	
	LCD_MeasureUniString(en_unibuf,&w,&h);
	x = (w > LCD_WIDTH)? 0 : (LCD_WIDTH-w)/2;
	y = y + h + 2;	
	LCD_ShowUniString(x,y,en_unibuf);

#ifdef FONT_32
	LCD_SetFontSize(FONT_SIZE_32);					//设置字体大小
#endif
	LCD_MeasureUniString(cn_unibuf,&w,&h);
	x = (w > LCD_WIDTH)? 0 : (LCD_WIDTH-w)/2;
	y = y + h + 2;	
	LCD_ShowUniString(x,y,cn_unibuf);
	
	LCD_MeasureUniString(en_unibuf,&w,&h);
	x = (w > LCD_WIDTH)? 0 : (LCD_WIDTH-w)/2;
	y = y + h + 2;
	LCD_ShowUniString(x,y,en_unibuf);
#endif
#else
	strcpy(enbuf, "August Shenzhen Digital Ltd");
	strcpy(cnbuf, "深圳市奥科斯数码有限公司");
	strcpy(jpbuf, "深セン市オーコスデジタル有限会社");

#ifdef FONT_32
	LCD_SetFontSize(FONT_SIZE_32);					//设置字体大小	
#elif defined(FONT_24)
	LCD_SetFontSize(FONT_SIZE_24);					//设置字体大小
#elif defined(FONT_16)
	LCD_SetFontSize(FONT_SIZE_16);					//设置字体大小
#endif

	LCD_MeasureString(enbuf,&w,&h);
	x = (w > LCD_WIDTH)? 0 : (LCD_WIDTH-w)/2;
	y = y + h + 2;	
	LCD_ShowString(x,y,enbuf);
	
	LCD_MeasureString(cnbuf,&w,&h);
	x = (w > LCD_WIDTH)? 0 : (LCD_WIDTH-w)/2;
	y = y + h + 2;
	LCD_ShowString(x,y,cnbuf);
	
	LCD_MeasureString(jpbuf,&w,&h);
	x = (w > LCD_WIDTH)? 0 : (LCD_WIDTH-w)/2;
	y = y + h + 2;
	LCD_ShowString(x,y,jpbuf);

#if 0
#ifdef FONT_24
	LCD_SetFontSize(FONT_SIZE_24);					//设置字体大小
#endif
	LCD_MeasureString(cnbuf,&w,&h);
	x = (w > LCD_WIDTH)? 0 : (LCD_WIDTH-w)/2;
	y = y + h + 2;	
	LCD_ShowString(x,y,cnbuf);
	
	LCD_MeasureString(enbuf,&w,&h);
	x = (w > LCD_WIDTH)? 0 : (LCD_WIDTH-w)/2;
	y = y + h + 2;	
	LCD_ShowString(x,y,enbuf);

#ifdef FONT_32
	LCD_SetFontSize(FONT_SIZE_32);					//设置字体大小
#endif
	LCD_MeasureString(cnbuf,&w,&h);
	x = (w > LCD_WIDTH)? 0 : (LCD_WIDTH-w)/2;
	y = y + h + 2;	
	LCD_ShowString(x,y,cnbuf);
	
	LCD_MeasureString(enbuf,&w,&h);
	x = (w > LCD_WIDTH)? 0 : (LCD_WIDTH-w)/2;
	y = y + h + 2;
	LCD_ShowString(x,y,enbuf);
#endif
#endif
}

void system_init(void)
{
	k_sleep(K_MSEC(500));//xb test 2022-03-11 启动时候延迟0.5S,等待其他外设完全启动
	
#ifdef CONFIG_FOTA_DOWNLOAD
	fota_init();
#endif

	InitSystemSettings();
	
	//pmu_init();
	flash_init();
	LCD_Init();
	
	ShowBootUpLogo();

	key_init();
#ifdef CONFIG_AUDIO_SUPPORT	
	audio_init();
#endif
	ble_init();
#ifdef CONFIG_PPG_SUPPORT	
	PPG_init();
#endif
#ifdef CONFIG_IMU_SUPPORT
	IMU_init(&imu_work_q);
#endif
#ifdef CONFIG_TEMP_SUPPORT
	temp_init();
#endif
#ifdef CONFIG_DATA_DOWNLOAD_SUPPORT
	dl_init();
#endif
	tp_init();
	NB_init(&nb_work_q);
	GPS_init(&gps_work_q);
}

void work_init(void)
{
	k_work_q_start(&nb_work_q, nb_stack_area,
					K_THREAD_STACK_SIZEOF(nb_stack_area),
					CONFIG_APPLICATION_WORKQUEUE_PRIORITY);
#ifdef CONFIG_IMU_SUPPORT	
	k_work_q_start(&imu_work_q, imu_stack_area,
					K_THREAD_STACK_SIZEOF(imu_stack_area),
					CONFIG_APPLICATION_WORKQUEUE_PRIORITY);
#endif
	k_work_q_start(&gps_work_q, gps_stack_area,
					K_THREAD_STACK_SIZEOF(gps_stack_area),
					CONFIG_APPLICATION_WORKQUEUE_PRIORITY);	
	
	if(IS_ENABLED(CONFIG_WATCHDOG))
	{
		watchdog_init_and_start(&k_sys_work_q);
	}
}

bool system_is_completed(void)
{
	return sys_pwron_completed_flag;
}

void system_init_completed(void)
{
	if(!sys_pwron_completed_flag)
		sys_pwron_completed_flag = true;
}

/***************************************************************************
* 描  述 : main函数 
* 入  参 : 无 
* 返回值 : int 类型
**************************************************************************/
int main(void)
{
	work_init();
	system_init();

//	test_show_string();
//	test_show_image();
//	test_show_color();
//	test_show_stripe();
//	test_nvs();
//	test_flash();
//	test_uart_ble();
//	test_sensor();
//	test_show_digital_clock();
//	test_sensor();
//	test_pmu();
//	test_crypto();
//	test_imei();
//	test_tp();
//	test_gps_on();
//	test_nb();
//	test_i2c();
//	test_bat_soc();

	while(1)
	{
		KeyMsgProcess();
		TimeMsgProcess();
		NBMsgProcess();
	#ifdef CONFIG_WIFI	
		WifiProcess();
	#endif
		GPSMsgProcess();
		//PMUMsgProcess();
	#ifdef CONFIG_IMU_SUPPORT	
		IMUMsgProcess();
	#ifdef CONFIG_FALL_DETECT_SUPPORT
		FallMsgProcess();
	#endif
	#endif
	#ifdef CONFIG_PPG_SUPPORT	
		PPGMsgProcess();
	#endif
		LCDMsgProcess();
	#ifdef CONFIG_TOUCH_SUPPORT
		TPMsgProcess();
	#endif
		AlarmMsgProcess();
		SettingsMsgPorcess();
		SOSMsgProc();
		UartMsgProc();
	#ifdef CONFIG_ANIMATION_SUPPORT
		AnimaMsgProcess();
	#endif		
		ScreenMsgProcess();
	#ifdef CONFIG_DATA_DOWNLOAD_SUPPORT
		DlMsgProc();
	#endif
	#ifdef CONFIG_FOTA_DOWNLOAD
		FotaMsgProc();
	#endif
	#ifdef CONFIG_AUDIO_SUPPORT
		AudioMsgProcess();
	#endif
	#ifdef CONFIG_SYNC_SUPPORT
		SyncMsgProcess();
	#endif
	#ifdef CONFIG_TEMP_SUPPORT
		TempMsgProcess();
	#endif
		system_init_completed();
		k_cpu_idle();
	}
}
```
